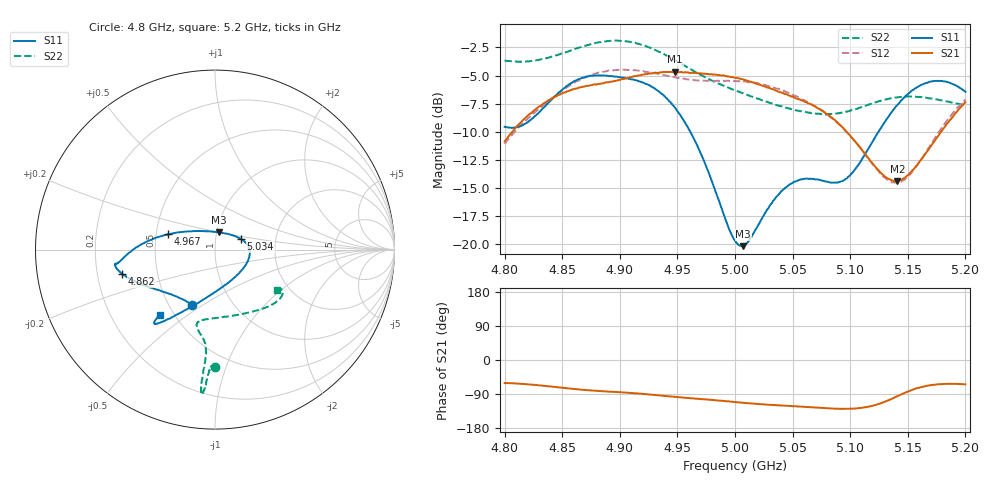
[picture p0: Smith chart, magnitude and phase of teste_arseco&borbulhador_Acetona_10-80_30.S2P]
! Network Analyzer HP8722D
! Hewlett-Packard
! Data name: Linha & Wilkinson
! Saver's name: Rodrigo Anjos
! Comments: Teste da utilização de aquisição
! continua pelo VNA HP8722D
! Time and date: 17/4/2025 14:36
!  Frequency  S11  S21  S12  S22
# HZ  S  MA R 50
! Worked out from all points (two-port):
!   401 points, 4.8 GHz to 5.2 GHz, reference 50 ohm
!   highest |S21| = -4.66 dB at 4.948 GHz (marker M1); lowest = -14.4 dB at 5.141 GHz (marker M2)
!   |S21| within 3 dB of the highest: 4.832 GHz to 5.068 GHz (236.2 MHz wide, 4.77 % of centre); 5.197467 GHz to end of sweep
!   lowest |S11| = -20.2 dB at 5.007 GHz (marker M3), VSWR 1.22, Z = 51 + j9.88 ohm
!   |S11| at or under -10 dB: 4.961 GHz to 5.125 GHz (163.3 MHz wide, 3.24 % of centre)
!   |S22| runs from -8.5 to -1.9 dB; largest |S21 - S12| = 0.88
!   S11 on the Smith chart (normalised r, x): 4.8 GHz: 0.65, -0.45; 4.862 GHz: 0.31, -0.12; 4.967 GHz: 0.58, +0.11; 5.034 GHz: 1.33, +0.16; 5.2 GHz: 0.42, -0.39
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4.8e9  0.3328 -113.1  0.2861 -60.9  0.2794 -175.0  0.6549 -90.0
4.819e9  0.3462 -133.0  0.3685 -64.0  0.3565 -173.4  0.6503 -91.5
4.839e9  0.4305 -151.6  0.4383 -69.5  0.4375 -173.7  0.678 -92.7
4.862e9  0.5351 -165.4  0.4924 -76.8  0.5283 -176.5  0.7419 -93.7
4.867e9  0.5487 -167.4  0.5004 -78.5  0.5427 -177.6  0.7556 -94.0
4.899e9  0.5523 -172.0  0.5369 -84.9  0.596 175.7  0.8033 -95.2
4.934e9  0.4778 -178.0  0.5784 -93.5  0.5729 171.9  0.7168 -95.6
4.948e9  0.4039 175.3  0.585 -97.2  0.5533 172.1  0.6578 -95.2
4.967e9  0.2761 162.1  0.5765 -102.1  0.5348 174.0  0.578 -95.0
5e9  0.1037 102.9  0.5496 -111.0  0.5322 176.2  0.4828 -99.1
5.007e9  0.0979 78.5  0.5409 -112.8  0.5277 176.2  0.4689 -100.7
5.034e9  0.1575 21.9  0.4859 -119.1  0.4968 175.1  0.4193 -103.6
5.05e9  0.1872 5.4  0.4523 -121.9  0.4616 174.0  0.3974 -99.7
5.067e9  0.1953 -12.8  0.4166 -124.9  0.4181 173.7  0.3825 -91.0
5.087e9  0.1877 -44.8  0.3551 -128.5  0.3526 173.7  0.3809 -75.8
5.097e9  0.1957 -65.3  0.3158 -129.0  0.3147 174.6  0.3886 -67.5
5.134e9  0.3743 -116.1  0.1944 -105.2  0.1904 -158.2  0.4439 -43.0
5.141e9  0.4161 -120.0  0.1908 -95.4  0.1876 -147.1  0.4501 -39.9
5.153e9  0.4798 -124.9  0.21 -79.6  0.2073 -128.8  0.4536 -35.7
5.17e9  0.5285 -128.6  0.2727 -66.4  0.2777 -112.6  0.4451 -31.9
5.184e9  0.5266 -129.9  0.344 -63.0  0.3549 -107.2  0.4315 -30.9
5.2e9  0.476 -130.3  0.4276 -64.3  0.4403 -106.3  0.4147 -33.2
